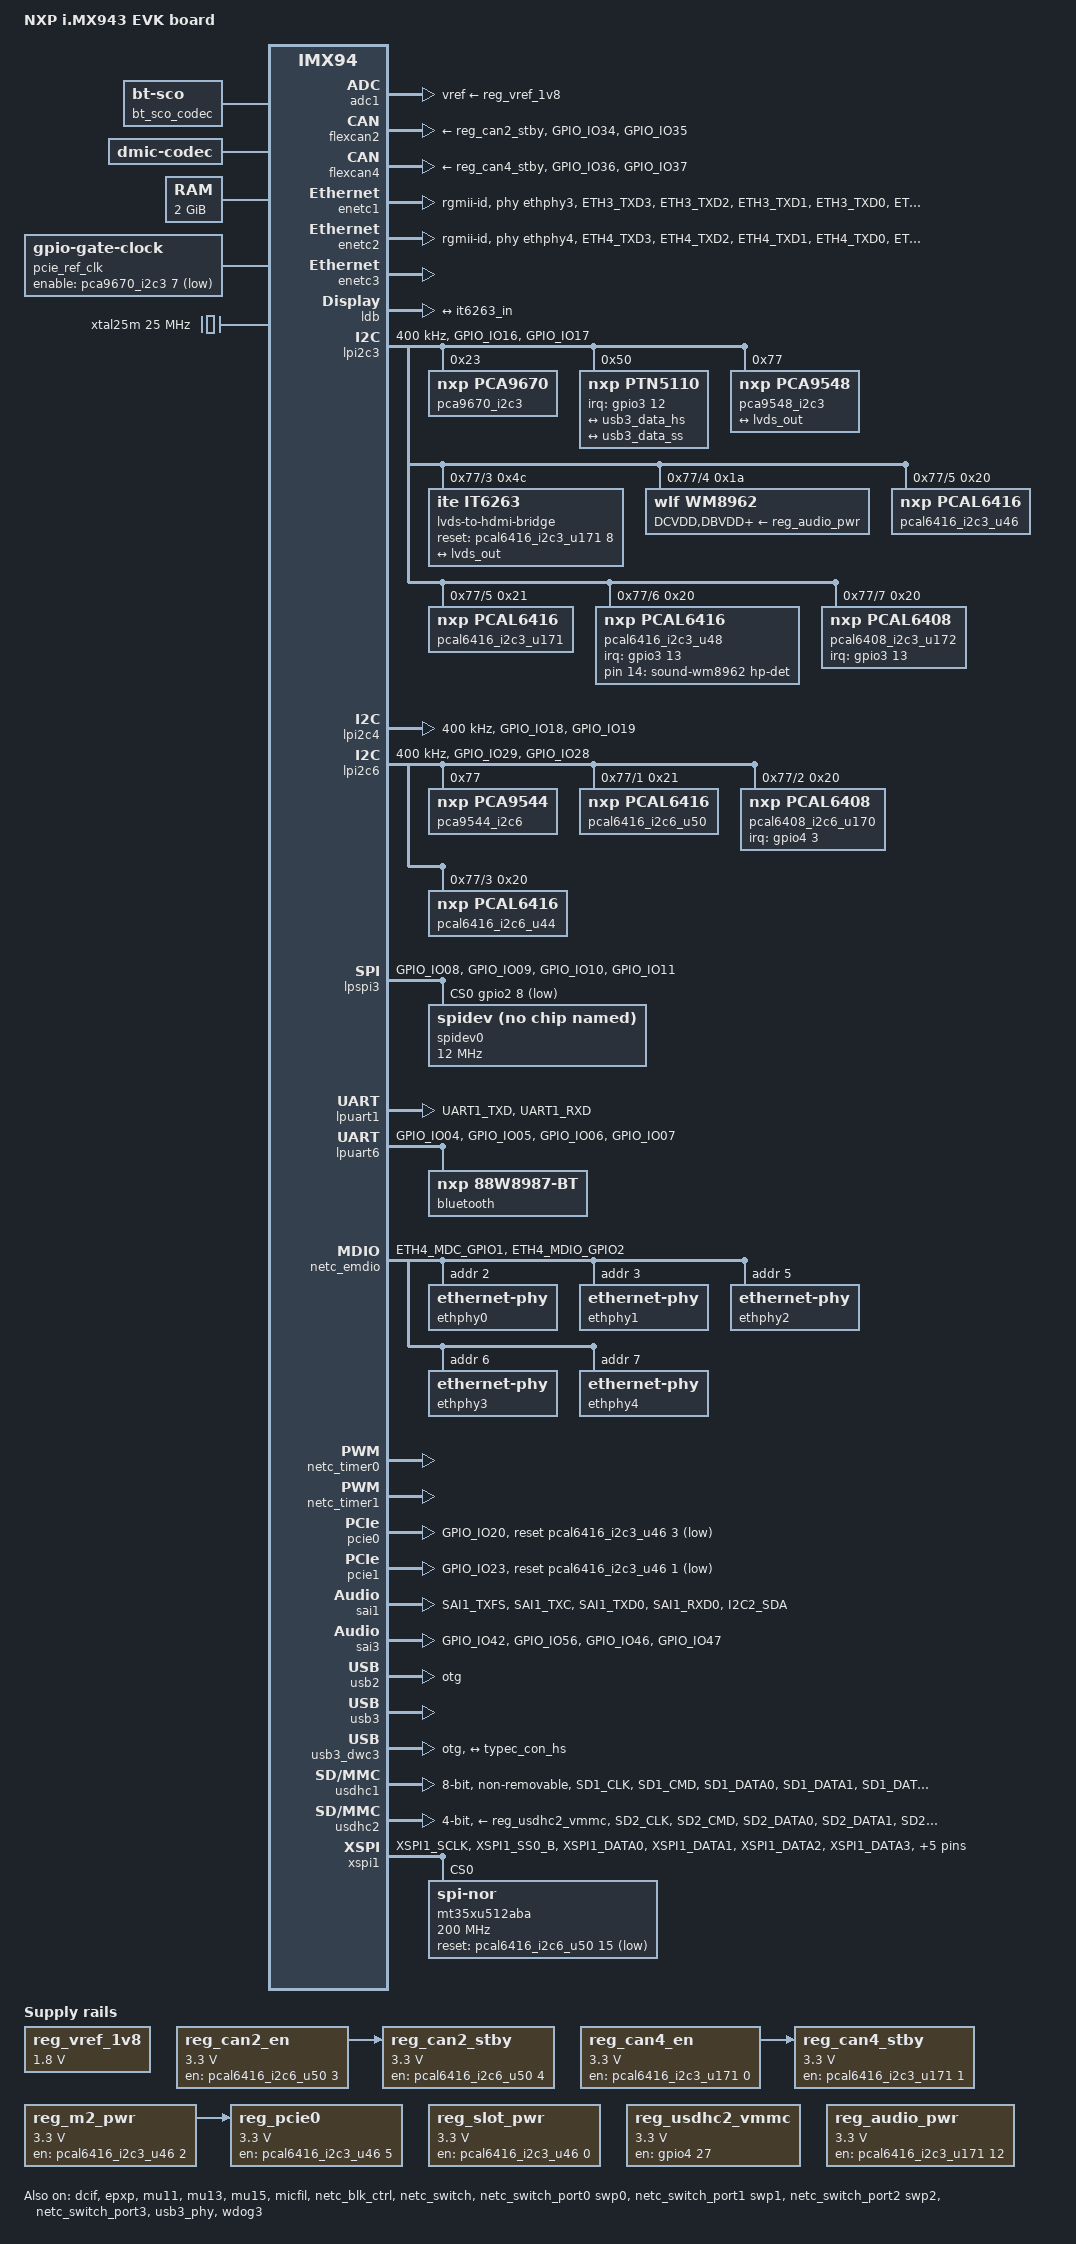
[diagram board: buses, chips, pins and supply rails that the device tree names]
// SPDX-License-Identifier: (GPL-2.0+ OR MIT)
/*
 * Copyright 2024-2025 NXP
 */

/dts-v1/;

#include "imx943.dtsi"
#include <dt-bindings/usb/pd.h>

#define BRD_SM_CTRL_BT_WAKE		0x8000  /*!< PCAL6416A-3 */
#define BRD_SM_CTRL_SD3_WAKE		0x8001  /*!< PCAL6416A-4 */
#define BRD_SM_CTRL_PCIE1_WAKE		0x8002  /*!< PCAL6416A-5 */
#define BRD_SM_CTRL_PCIE2_WAKE		0x8003  /*!< PCAL6416A-6 */
#define BRD_SM_CTRL_BUTTON		0x8004  /*!< PCAL6416A-7 */

/ {
	model = "NXP i.MX943 EVK board";
	compatible = "fsl,imx943-evk", "fsl,imx94";

	aliases {
		ethernet0 = &enetc3;
		ethernet1 = &enetc1;
		ethernet2 = &enetc2;
		mmc0 = &usdhc1;
		mmc1 = &usdhc2;
		serial0 = &lpuart1;
	};

	bt_sco_codec: bt-sco-codec {
		compatible = "linux,bt-sco";
		#sound-dai-cells = <1>;
	};

	chosen {
		stdout-path = &lpuart1;
	};

	cm70: imx943-cm70 {
		compatible = "fsl,imx94-cm7";
		mbox-names = "tx", "rx", "rxdb";
		mboxes = <&mu11 0 1
			  &mu11 1 1
			  &mu11 3 1>;
		memory-region = <&cm70_vdevbuffer>, <&cm70_vdev0vring0>, <&cm70_vdev0vring1>,
				<&cm70_vdev1vring0>, <&cm70_vdev1vring1>, <&cm70_rsc_table>;
		fsl,startup-delay-ms = <50>;
		fsl,core-index = <0x1>;
		/* cpuid and lmmid must align with SM firmware */
		fsl,cpu-id = <1>;
		fsl,lmm-id = <2>;
		status = "okay";
	};

	cm71: imx943-cm71 {
		compatible = "fsl,imx94-cm7";
		mbox-names = "tx", "rx", "rxdb";
		mboxes = <&mu13 0 1
			  &mu13 1 1
			  &mu13 3 1>;
		memory-region = <&cm71_vdevbuffer>, <&cm71_vdev0vring0>, <&cm71_vdev0vring1>,
				<&cm71_vdev1vring0>, <&cm71_vdev1vring1>, <&cm71_rsc_table>;
		fsl,startup-delay-ms = <50>;
		fsl,core-index = <0x7>;
		/* cpuid and lmmid must align with SM firmware */
		fsl,cpu-id = <7>;
		fsl,lmm-id = <3>;
		status = "okay";
	};

	cm33s: imx943-cm33s {
		compatible = "fsl,imx94-cm33s";
		mbox-names = "tx", "rx", "rxdb";
		mboxes = <&mu15 0 1
			  &mu15 1 1
			  &mu15 3 1>;
		memory-region = <&cm33s_vdevbuffer>, <&cm33s_vdev0vring0>, <&cm33s_vdev0vring1>,
				<&cm33s_vdev1vring0>, <&cm33s_vdev1vring1>, <&cm33s_rsc_table>;
		fsl,startup-delay-ms = <50>;
		/* cpuid and lmmid must align with SM firmware */
		fsl,cpu-id = <8>;
		fsl,lmm-id = <1>;
		status = "okay";
	};

	dmic: dmic {
		compatible = "dmic-codec";
		#sound-dai-cells = <0>;
	};

	memory@80000000 {
		device_type = "memory";
		reg = <0x0 0x80000000 0x0 0x80000000>;
	};

	pcie_ref_clk: clock-pcie-ref {
		compatible = "gpio-gate-clock";
		clocks = <&xtal25m>;
		#clock-cells = <0>;
		enable-gpios = <&pca9670_i2c3 7 GPIO_ACTIVE_LOW>;
	};

	reserved-memory {
		#address-cells = <2>;
		#size-cells = <2>;
		ranges;

		linux,cma {
			compatible = "shared-dma-pool";
			reusable;
			size = <0 0x10000000>;
			alloc-ranges = <0 0x80000000 0 0x7f000000>;
			linux,cma-default;
		};

		cm70_vdev0vring0: vdev0vring0@82000000 {
			reg = <0 0x82000000 0 0x8000>;
			no-map;
		};

		cm70_vdev0vring1: vdev0vring1@82008000 {
			reg = <0 0x82008000 0 0x8000>;
			no-map;
		};

		cm70_vdev1vring0: vdev1vring0@82010000 {
			reg = <0 0x82010000 0 0x8000>;
			no-map;
		};

		cm70_vdev1vring1: vdev1vring1@82018000 {
			reg = <0 0x82018000 0 0x8000>;
			no-map;
		};

		cm70_rsc_table: rsc-table@82220000 {
			reg = <0 0x82220000 0 0x1000>;
			no-map;
		};

		cm70_vdevbuffer: vdevbuffer@82020000 {
			compatible = "shared-dma-pool";
			reg = <0 0x82020000 0 0x100000>;
			no-map;
		};

		cm71_vdev0vring0: vdev0vring0@84000000 {
			reg = <0 0x84000000 0 0x8000>;
			no-map;
		};

		cm71_vdev0vring1: vdev0vring1@84008000 {
			reg = <0 0x84008000 0 0x8000>;
			no-map;
		};

		cm71_vdev1vring0: vdev1vring0@84010000 {
			reg = <0 0x84010000 0 0x8000>;
			no-map;
		};

		cm71_vdev1vring1: vdev1vring1@84018000 {
			reg = <0 0x84018000 0 0x8000>;
			no-map;
		};

		cm71_rsc_table: rsc-table@84220000 {
			reg = <0 0x84220000 0 0x1000>;
			no-map;
		};

		cm71_vdevbuffer: vdevbuffer@84020000 {
			compatible = "shared-dma-pool";
			reg = <0 0x84020000 0 0x100000>;
			no-map;
		};

		cm33s_vdev0vring0: vdev0vring0@20800000 {
			reg = <0 0x20800000 0 0x8000>;
			no-map;
		};

		cm33s_vdev0vring1: vdev0vring1@20808000 {
			reg = <0 0x20808000 0 0x8000>;
			no-map;
		};

		cm33s_vdev1vring0: vdev1vring0@20810000 {
			reg = <0 0x20810000 0 0x8000>;
			no-map;
		};

		cm33s_vdev1vring1: vdev1vring1@20818000 {
			reg = <0 0x20818000 0 0x8000>;
			no-map;
		};

		cm33s_rsc_table: rsc-table@208a0000 {
			reg = <0 0x208a0000 0 0x1000>;
			no-map;
		};

		cm33s_vdevbuffer: vdevbuffer@20820000 {
			compatible = "shared-dma-pool";
			reg = <0 0x20820000 0 0x80000>;
			no-map;
		};

		ele_reserved: ele-reserved@a4120000 {
			compatible = "shared-dma-pool";
			reg = <0 0xa4120000 0 0x100000>;
			no-map;
		};
	};

	reg_vref_1v8: regulator-adc-vref {
		compatible = "regulator-fixed";
		regulator-name = "vref_1v8";
		regulator-min-microvolt = <1800000>;
		regulator-max-microvolt = <1800000>;
	};

	reg_can2_en: regulator-can2-en {
		compatible = "regulator-fixed";
		regulator-max-microvolt = <3300000>;
		regulator-min-microvolt = <3300000>;
		regulator-name = "can2-en";
		gpio = <&pcal6416_i2c6_u50 3 GPIO_ACTIVE_HIGH>;
		enable-active-high;
	};

	reg_can2_stby: regulator-can2-stby {
		compatible = "regulator-fixed";
		regulator-max-microvolt = <3300000>;
		regulator-min-microvolt = <3300000>;
		regulator-name = "can2-stby";
		vin-supply = <&reg_can2_en>;
		gpio = <&pcal6416_i2c6_u50 4 GPIO_ACTIVE_HIGH>;
		enable-active-high;
	};

	reg_can4_en: regulator-can4-en {
		compatible = "regulator-fixed";
		regulator-max-microvolt = <3300000>;
		regulator-min-microvolt = <3300000>;
		regulator-name = "can4-en";
		gpio = <&pcal6416_i2c3_u171 0 GPIO_ACTIVE_HIGH>;
		enable-active-high;
	};

	reg_can4_stby: regulator-can4-stby {
		compatible = "regulator-fixed";
		regulator-max-microvolt = <3300000>;
		regulator-min-microvolt = <3300000>;
		regulator-name = "can4-stby";
		vin-supply = <&reg_can4_en>;
		gpio = <&pcal6416_i2c3_u171 1 GPIO_ACTIVE_HIGH>;
		enable-active-high;
	};

	reg_m2_pwr: regulator-m2-pwr {
		compatible = "regulator-fixed";
		regulator-name = "M.2-power";
		regulator-min-microvolt = <3300000>;
		regulator-max-microvolt = <3300000>;
		gpio = <&pcal6416_i2c3_u46 2 GPIO_ACTIVE_HIGH>;
		enable-active-high;
	};

	reg_pcie0: regulator-pcie {
		compatible = "regulator-fixed";
		regulator-name = "PCIE_WLAN_EN";
		regulator-min-microvolt = <3300000>;
		regulator-max-microvolt = <3300000>;
		vin-supply = <&reg_m2_pwr>;
		gpio = <&pcal6416_i2c3_u46 5 GPIO_ACTIVE_HIGH>;
		enable-active-high;
		regulator-always-on;
	};

	reg_slot_pwr: regulator-slot-pwr {
		compatible = "regulator-fixed";
		regulator-name = "PCIe slot-power";
		regulator-min-microvolt = <3300000>;
		regulator-max-microvolt = <3300000>;
		gpio = <&pcal6416_i2c3_u46 0 GPIO_ACTIVE_HIGH>;
		enable-active-high;
	};

	reg_usdhc2_vmmc: regulator-usdhc2 {
		compatible = "regulator-fixed";
		pinctrl-names = "default";
		pinctrl-0 = <&pinctrl_reg_usdhc2_vmmc>;
		regulator-name = "VDD_SD2_3V3";
		regulator-min-microvolt = <3300000>;
		regulator-max-microvolt = <3300000>;
		gpio = <&gpio4 27 GPIO_ACTIVE_HIGH>;
		off-on-delay-us = <12000>;
		enable-active-high;
	};

	reg_audio_pwr: regulator-wm8962-pwr {
		compatible = "regulator-fixed";
		regulator-name = "audio-pwr";
		regulator-min-microvolt = <3300000>;
		regulator-max-microvolt = <3300000>;
		gpio = <&pcal6416_i2c3_u171 12 GPIO_ACTIVE_HIGH>;
		enable-active-high;
	};

	sound-bt-sco {
		compatible = "simple-audio-card";
		simple-audio-card,name = "bt-sco-audio";
		simple-audio-card,format = "dsp_a";
		simple-audio-card,bitclock-inversion;
		simple-audio-card,frame-master = <&btcpu>;
		simple-audio-card,bitclock-master = <&btcpu>;

		btcpu: simple-audio-card,cpu {
			sound-dai = <&sai3>;
			dai-tdm-slot-num = <2>;
			dai-tdm-slot-width = <16>;
		};

		simple-audio-card,codec {
			sound-dai = <&bt_sco_codec 1>;
		};
	};

	sound-micfil {
		compatible = "fsl,imx-audio-card";
		model = "micfil-audio";

		pri-dai-link {
			link-name = "micfil hifi";
			format = "i2s";

			cpu {
				sound-dai = <&micfil>;
			};

			codec {
				sound-dai = <&dmic>;
			};
		};
	};

	sound-wm8962 {
		compatible = "fsl,imx-audio-wm8962";
		model = "wm8962-audio";
		audio-cpu = <&sai1>;
		audio-codec = <&wm8962>;
		hp-det-gpio = <&pcal6416_i2c3_u48 14 GPIO_ACTIVE_HIGH>;
		audio-routing =
			"Headphone Jack", "HPOUTL",
			"Headphone Jack", "HPOUTR",
			"Ext Spk", "SPKOUTL",
			"Ext Spk", "SPKOUTR",
			"AMIC", "MICBIAS",
			"IN3R", "AMIC",
			"IN1R", "AMIC";
	};

	xtal25m: clock-xtal25m {
		compatible = "fixed-clock";
		#clock-cells = <0>;
		clock-frequency = <25000000>;
		clock-output-names = "xtal_25MHz";
	};
};

&adc1 {
	vref-supply = <&reg_vref_1v8>;
	status = "okay";
};

&dcif {
	status = "okay";
};

&ele_if0 {
	memory-region = <&ele_reserved>;
};

&flexcan2 {
	pinctrl-0 = <&pinctrl_flexcan2>;
	pinctrl-names = "default";
	xceiver-supply = <&reg_can2_stby>;
	status = "okay";
};

&flexcan4 {
	pinctrl-0 = <&pinctrl_flexcan4>;
	pinctrl-names = "default";
	xceiver-supply = <&reg_can4_stby>;
	status = "okay";
};

&enetc1 {
	clocks = <&scmi_clk IMX94_CLK_MAC4>;
	clock-names = "enet_ref_clk";
	pinctrl-names = "default";
	pinctrl-0 = <&pinctrl_eth3>;
	phy-handle = <&ethphy3>;
	phy-mode = "rgmii-id";
	status = "okay";
};

&enetc2 {
	clocks = <&scmi_clk IMX94_CLK_MAC5>;
	clock-names = "enet_ref_clk";
	pinctrl-names = "default";
	pinctrl-0 = <&pinctrl_eth4>;
	phy-handle = <&ethphy4>;
	phy-mode = "rgmii-id";
	status = "okay";
};

&enetc3 {
	status = "okay";
};

&epxp {
	status = "okay";
};

&ldb {
	#address-cells = <1>;
	#size-cells = <0>;
	assigned-clocks = <&scmi_clk IMX94_CLK_LDBPLL_VCO>,
			  <&scmi_clk IMX94_CLK_LDBPLL>;
	assigned-clock-rates = <4158000000>, <1039500000>;
	status = "okay";

	ports {
		#address-cells = <1>;
		#size-cells = <0>;

		port@1 {
			reg = <1>;

			lvds_out: endpoint {
				remote-endpoint = <&it6263_in>;
			};
		};
	};
};

&lpi2c3 {
	clock-frequency = <400000>;
	pinctrl-0 = <&pinctrl_lpi2c3>;
	pinctrl-names = "default";
	status = "okay";

	pca9670_i2c3: gpio@23 {
		compatible = "nxp,pca9670";
		reg = <0x23>;
		#gpio-cells = <2>;
		gpio-controller;

		/* PCIE clock FANOUT buffer U12 VOE1/2/3/4 port on */
		pcie-p1-on-hog {
			gpio-hog;
			gpios = <1 GPIO_ACTIVE_HIGH>;
			output-low;
		};

		pcie-p2-on-hog {
			gpio-hog;
			gpios = <2 GPIO_ACTIVE_HIGH>;
			output-low;
		};

		pcie-p3-on-hog {
			gpio-hog;
			gpios = <3 GPIO_ACTIVE_HIGH>;
			output-low;
		};

		pcie-p4-on-hog {
			gpio-hog;
			gpios = <4 GPIO_ACTIVE_HIGH>;
			output-low;
		};
	};

	ptn5110: tcpc@50 {
		compatible = "nxp,ptn5110", "tcpci";
		reg = <0x50>;
		interrupt-parent = <&gpio3>;
		interrupts = <12 IRQ_TYPE_LEVEL_LOW>;
		pinctrl-names = "default";
		pinctrl-0 = <&pinctrl_typec>;

		typec_con: connector {
			compatible = "usb-c-connector";
			label = "USB-C";
			power-role = "dual";
			data-role = "dual";
			try-power-role = "sink";
			source-pdos = <PDO_FIXED(5000, 3000, PDO_FIXED_USB_COMM)>;
			sink-pdos = <PDO_FIXED(5000, 0, PDO_FIXED_USB_COMM)>;
			op-sink-microwatt = <0>;
			self-powered;

			ports {
				#address-cells = <1>;
				#size-cells = <0>;

				port@0 {
					reg = <0>;

					typec_con_hs: endpoint {
						remote-endpoint = <&usb3_data_hs>;
					};
				};

				port@1 {
					reg = <1>;

					typec_con_ss: endpoint {
						remote-endpoint = <&usb3_data_ss>;
					};
				};
			};
		};
	};

	pca9548_i2c3: i2c-mux@77 {
		compatible = "nxp,pca9548";
		reg = <0x77>;
		#address-cells = <1>;
		#size-cells = <0>;

		i2c@0 {
			reg = <0>;
			#address-cells = <1>;
			#size-cells = <0>;
		};

		i2c@1 {
			reg = <1>;
			#address-cells = <1>;
			#size-cells = <0>;
		};

		i2c@2 {
			reg = <2>;
			#address-cells = <1>;
			#size-cells = <0>;
		};

		i2c@3 {
			reg = <3>;
			#address-cells = <1>;
			#size-cells = <0>;

			lvds-to-hdmi-bridge@4c {
				compatible = "ite,it6263";
				reg = <0x4c>;
				reset-gpios = <&pcal6416_i2c3_u171 8 GPIO_ACTIVE_HIGH>;

				port {
					it6263_in: endpoint {
						remote-endpoint = <&lvds_out>;
					};
				};
			};
		};

		i2c@4 {
			reg = <4>;
			#address-cells = <1>;
			#size-cells = <0>;

			wm8962: codec@1a {
				compatible = "wlf,wm8962";
				reg = <0x1a>;
				clocks = <&scmi_clk IMX94_CLK_SAI1>;
				DCVDD-supply = <&reg_audio_pwr>;
				DBVDD-supply = <&reg_audio_pwr>;
				AVDD-supply = <&reg_audio_pwr>;
				CPVDD-supply = <&reg_audio_pwr>;
				MICVDD-supply = <&reg_audio_pwr>;
				PLLVDD-supply = <&reg_audio_pwr>;
				SPKVDD1-supply = <&reg_audio_pwr>;
				SPKVDD2-supply = <&reg_audio_pwr>;
				gpio-cfg = <
					0x0000 /* 0:Default */
					0x0000 /* 1:Default */
					0x0000 /* 2:FN_DMICCLK */
					0x0000 /* 3:Default */
					0x0000 /* 4:FN_DMICCDAT */
					0x0000 /* 5:Default */
				>;
			};

			ptn5150: tcpc@3d {
				compatible = "nxp,ptn5150";
				reg = <0x3d>;
				interrupt-parent = <&pcal6408_i2c3_u172>;
				interrupts = <6 IRQ_TYPE_EDGE_FALLING>;
				status = "disabled";
			};
		};

		i2c@5 {
			reg = <5>;
			#address-cells = <1>;
			#size-cells = <0>;

			pcal6416_i2c3_u46: gpio@20 {
				compatible = "nxp,pcal6416";
				reg = <0x20>;
				#gpio-cells = <2>;
				gpio-controller;

			};

			pcal6416_i2c3_u171: gpio@21 {
				compatible = "nxp,pcal6416";
				reg = <0x21>;
				#gpio-cells = <2>;
				gpio-controller;

				mqs-mic-sel-hog {
					gpio-hog;
					gpios = <11 GPIO_ACTIVE_HIGH>;
					output-low;
				};

				audio-pwren-hog {
					gpio-hog;
					gpios = <12 GPIO_ACTIVE_HIGH>;
					output-high;
				};
			};
		};

		i2c@6 {
			reg = <6>;
			#address-cells = <1>;
			#size-cells = <0>;

			pcal6416_i2c3_u48: gpio@20 {
				compatible = "nxp,pcal6416";
				reg = <0x20>;
				#interrupt-cells = <2>;
				interrupt-controller;
				interrupt-parent = <&gpio3>;
				interrupts = <13 IRQ_TYPE_LEVEL_LOW>;
				#gpio-cells = <2>;
				gpio-controller;
				pinctrl-0 = <&pinctrl_ioexpander_int>;
				pinctrl-names = "default";
			};
		};

		i2c@7 {
			reg = <7>;
			#address-cells = <1>;
			#size-cells = <0>;

			pcal6408_i2c3_u172: gpio@20 {
				compatible = "nxp,pcal6408";
				reg = <0x20>;
				#interrupt-cells = <2>;
				interrupt-controller;
				interrupt-parent = <&gpio3>;
				/* shared int pin with u48 */
				interrupts = <13 IRQ_TYPE_LEVEL_LOW>;
				#gpio-cells = <2>;
				gpio-controller;
			};
		};
	};
};

&lpi2c4 {
	clock-frequency = <400000>;
	pinctrl-0 = <&pinctrl_lpi2c4>;
	pinctrl-names = "default";
	status = "okay";
};

&lpi2c6 {
	clock-frequency = <400000>;
	pinctrl-0 = <&pinctrl_lpi2c6>;
	pinctrl-names = "default";
	status = "okay";

	pca9544_i2c6: i2c-mux@77 {
		compatible = "nxp,pca9544";
		reg = <0x77>;
		#address-cells = <1>;
		#size-cells = <0>;

		i2c@0 {
			reg = <0>;
			#address-cells = <1>;
			#size-cells = <0>;
		};

		i2c@1 {
			reg = <1>;
			#address-cells = <1>;
			#size-cells = <0>;

			pcal6416_i2c6_u50: gpio@21 {
				compatible = "nxp,pcal6416";
				reg = <0x21>;
				#gpio-cells = <2>;
				gpio-controller;
			};
		};

		i2c@2 {
			reg = <2>;
			#address-cells = <1>;
			#size-cells = <0>;

			pcal6408_i2c6_u170: gpio@20 {
				compatible = "nxp,pcal6408";
				reg = <0x20>;
				#interrupt-cells = <2>;
				interrupt-controller;
				interrupt-parent = <&gpio4>;
				interrupts = <3 IRQ_TYPE_LEVEL_LOW>;
				#gpio-cells = <2>;
				gpio-controller;
				pinctrl-0 = <&pinctrl_ioexpander_int2>;
				pinctrl-names = "default";
			};
		};

		i2c@3 {
			reg = <3>;
			#address-cells = <1>;
			#size-cells = <0>;

			pcal6416_i2c6_u44: gpio@20 {
				compatible = "nxp,pcal6416";
				reg = <0x20>;
				#gpio-cells = <2>;
				gpio-controller;

				sai3-sel-hog {
					gpio-hog;
					gpios = <11 GPIO_ACTIVE_HIGH>;
					output-high;
				};

				/* can1 selection */
				can-pdm-sel-hog {
					gpio-hog;
					gpios = <12 GPIO_ACTIVE_HIGH>;
					output-low;
				};
			};
		};
	};
};

&lpspi3 {
	cs-gpios = <&gpio2 8 GPIO_ACTIVE_LOW>;
	num-cs = <2>;
	pinctrl-0 = <&pinctrl_lpspi3>;
	pinctrl-names = "default";
	status = "okay";

	spidev0: spi@0 {
		compatible = "rohm,dh2228fv";
		reg = <0>;
		spi-max-frequency = <12000000>;
	};
};

&lpuart1 {
	/* console */
	pinctrl-names = "default";
	pinctrl-0 = <&pinctrl_uart1>;
	status = "okay";
};

&lpuart6 {
	/* BT */
	pinctrl-0 = <&pinctrl_uart6>;
	pinctrl-names = "default";
	status = "okay";

	bluetooth {
		compatible = "nxp,88w8987-bt";
	};
};

&mu11 {
	status = "okay";
};

&mu13 {
	status = "okay";
};

&mu15 {
	status = "okay";
};

&micfil {
	pinctrl-names = "default";
	pinctrl-0 = <&pinctrl_pdm>;
	assigned-clocks = <&scmi_clk IMX94_CLK_AUDIOPLL1_VCO>,
			  <&scmi_clk IMX94_CLK_AUDIOPLL2_VCO>,
			  <&scmi_clk IMX94_CLK_AUDIOPLL1>,
			  <&scmi_clk IMX94_CLK_AUDIOPLL2>,
			  <&scmi_clk IMX94_CLK_PDM>;
	assigned-clock-parents = <0>, <0>, <0>, <0>,
				 <&scmi_clk IMX94_CLK_AUDIOPLL1>;
	assigned-clock-rates = <3932160000>,
			       <3612672000>, <393216000>,
			       <361267200>, <49152000>;
	status = "okay";
};

&netc_blk_ctrl {
	assigned-clocks = <&scmi_clk IMX94_CLK_MAC2>,
			  <&scmi_clk IMX94_CLK_MAC4>,
			  <&scmi_clk IMX94_CLK_MAC5>;
	assigned-clock-parents = <&scmi_clk IMX94_CLK_SYSPLL1_PFD0>,
				 <&scmi_clk IMX94_CLK_SYSPLL1_PFD0>,
				 <&scmi_clk IMX94_CLK_SYSPLL1_PFD0>;
	assigned-clock-rates = <250000000>, <250000000>, <250000000>;
	status = "okay";
};

&netc_emdio {
	pinctrl-names = "default";
	pinctrl-0 = <&pinctrl_emdio>;
	status = "okay";

	ethphy0: ethernet-phy@2 {
		reg = <0x2>;
	};

	ethphy1: ethernet-phy@3 {
		reg = <0x3>;
	};

	ethphy2: ethernet-phy@5 {
		reg = <0x5>;
		realtek,clkout-disable;
	};

	ethphy3: ethernet-phy@6 {
		reg = <0x6>;
		realtek,clkout-disable;
	};

	ethphy4: ethernet-phy@7 {
		reg = <0x7>;
		realtek,clkout-disable;
	};
};

&netc_switch {
	pinctrl-names = "default";
	pinctrl-0 = <&pinctrl_switch>;
	status = "okay";
};

&netc_switch_port0 {
	label = "swp0";
	phy-handle = <&ethphy0>;
	phy-mode = "mii";
	status = "okay";
};

&netc_switch_port1 {
	label = "swp1";
	phy-handle = <&ethphy1>;
	phy-mode = "mii";
	status = "okay";
};

&netc_switch_port2 {
	label = "swp2";
	clocks = <&scmi_clk IMX94_CLK_MAC2>;
	clock-names = "ref";
	phy-handle = <&ethphy2>;
	phy-mode = "rgmii-id";
	status = "okay";
};

&netc_switch_port3{
	status = "okay";
};

&netc_timer0 {
	status = "okay";
};

&netc_timer1 {
	status = "okay";
};

&pcie0 {
	pinctrl-0 = <&pinctrl_pcie0>;
	pinctrl-names = "default";
	clocks = <&scmi_clk IMX94_CLK_HSIO>,
		 <&scmi_clk IMX94_CLK_HSIOPLL>,
		 <&scmi_clk IMX94_CLK_HSIOPLL_VCO>,
		 <&scmi_clk IMX94_CLK_HSIOPCIEAUX>,
		 <&pcie_ref_clk>;
	clock-names = "pcie", "pcie_bus", "pcie_phy", "pcie_aux", "ext-ref";
	reset-gpio = <&pcal6416_i2c3_u46 3 GPIO_ACTIVE_LOW>;
	vpcie-supply = <&reg_pcie0>;
	status = "okay";
};

&pcie1 {
	pinctrl-0 = <&pinctrl_pcie1>;
	pinctrl-names = "default";
	clocks = <&scmi_clk IMX94_CLK_HSIO>,
		 <&scmi_clk IMX94_CLK_HSIOPLL>,
		 <&scmi_clk IMX94_CLK_HSIOPLL_VCO>,
		 <&scmi_clk IMX94_CLK_HSIOPCIEAUX>,
		 <&pcie_ref_clk>;
	clock-names = "pcie", "pcie_bus", "pcie_phy", "pcie_aux", "ext-ref";
	reset-gpio = <&pcal6416_i2c3_u46 1 GPIO_ACTIVE_LOW>;
	vpcie-supply = <&reg_slot_pwr>;
	status = "okay";
};

&pcie1_ep {
	pinctrl-0 = <&pinctrl_pcie1>;
	pinctrl-names = "default";
	clocks = <&scmi_clk IMX94_CLK_HSIO>,
		 <&scmi_clk IMX94_CLK_HSIOPLL>,
		 <&scmi_clk IMX94_CLK_HSIOPLL_VCO>,
		 <&scmi_clk IMX94_CLK_HSIOPCIEAUX>;
	clock-names = "pcie", "pcie_bus", "pcie_phy", "pcie_aux";
	vpcie-supply = <&reg_slot_pwr>;
	status = "disabled";
};

&sai1 {
	pinctrl-names = "default";
	pinctrl-0 = <&pinctrl_sai1>;
	assigned-clocks = <&scmi_clk IMX94_CLK_AUDIOPLL1_VCO>,
			  <&scmi_clk IMX94_CLK_AUDIOPLL2_VCO>,
			  <&scmi_clk IMX94_CLK_AUDIOPLL1>,
			  <&scmi_clk IMX94_CLK_AUDIOPLL2>,
			  <&scmi_clk IMX94_CLK_SAI1>;
	assigned-clock-parents = <0>, <0>, <0>, <0>,
				 <&scmi_clk IMX94_CLK_AUDIOPLL1>;
	assigned-clock-rates = <3932160000>,
			       <3612672000>, <393216000>,
			       <361267200>, <12288000>;
	fsl,sai-mclk-direction-output;
	status = "okay";
};

&sai3 {
	pinctrl-names = "default";
	pinctrl-0 = <&pinctrl_sai3>;
	assigned-clocks = <&scmi_clk IMX94_CLK_AUDIOPLL1_VCO>,
			  <&scmi_clk IMX94_CLK_AUDIOPLL2_VCO>,
			  <&scmi_clk IMX94_CLK_AUDIOPLL1>,
			  <&scmi_clk IMX94_CLK_AUDIOPLL2>,
			  <&scmi_clk IMX94_CLK_SAI3>;
	assigned-clock-parents = <0>, <0>, <0>, <0>,
				 <&scmi_clk IMX94_CLK_AUDIOPLL1>;
	assigned-clock-rates = <3932160000>,
			       <3612672000>, <393216000>,
			       <361267200>, <12288000>;
	fsl,sai-mclk-direction-output;
	status = "okay";
};

&scmi_misc {
	nxp,ctrl-ids = <BRD_SM_CTRL_SD3_WAKE		1
			BRD_SM_CTRL_PCIE1_WAKE		1
			BRD_SM_CTRL_BT_WAKE		1
			BRD_SM_CTRL_PCIE2_WAKE		1
			BRD_SM_CTRL_BUTTON		1>;
};


&usb2 {
	dr_mode = "otg";
	disable-over-current;
	adp-disable;
	hnp-disable;
	srp-disable;
	status = "okay";
};

&usb3 {
	status = "okay";
};

&usb3_dwc3 {
	dr_mode = "otg";
	adp-disable;
	hnp-disable;
	srp-disable;
	usb-role-switch;
	snps,dis-u1-entry-quirk;
	snps,dis-u2-entry-quirk;
	status = "okay";

	port {
		usb3_data_hs: endpoint {
			remote-endpoint = <&typec_con_hs>;
		};
	};
};

&usb3_phy {
	orientation-switch;
	status = "okay";

	port {
		usb3_data_ss: endpoint {
			remote-endpoint = <&typec_con_ss>;
		};
	};
};

&thermal_zones {
	pf09 {
		polling-delay-passive = <250>;
		polling-delay = <2000>;
		thermal-sensors = <&scmi_sensor 2>;
		status = "disabled";
		trips {
			pf09_alert: trip0 {
				temperature = <140000>;
				hysteresis = <2000>;
				type = "passive";
			};

			pf09_crit: trip1 {
				temperature = <155000>;
				hysteresis = <2000>;
				type = "critical";
			};
		};
	};

	pf53_soc {
		polling-delay-passive = <250>;
		polling-delay = <2000>;
		thermal-sensors = <&scmi_sensor 3>;
		status = "disabled";
		trips {
			pf5302_alert: trip0 {
				temperature = <140000>;
				hysteresis = <2000>;
				type = "passive";
			};

			pf5302_crit: trip1 {
				temperature = <155000>;
				hysteresis = <2000>;
				type = "critical";
			};
		};
	};
};

&usdhc1 {
	pinctrl-names = "default", "state_100mhz", "state_200mhz", "sleep";
	pinctrl-0 = <&pinctrl_usdhc1>;
	pinctrl-1 = <&pinctrl_usdhc1_100mhz>;
	pinctrl-2 = <&pinctrl_usdhc1_200mhz>;
	pinctrl-3 = <&pinctrl_usdhc1>;
	bus-width = <8>;
	non-removable;
	no-sdio;
	no-sd;
	status = "okay";
};

&usdhc2 {
	pinctrl-names = "default", "state_100mhz", "state_200mhz", "sleep";
	pinctrl-0 = <&pinctrl_usdhc2>, <&pinctrl_usdhc2_gpio>;
	pinctrl-1 = <&pinctrl_usdhc2_100mhz>, <&pinctrl_usdhc2_gpio>;
	pinctrl-2 = <&pinctrl_usdhc2_200mhz>, <&pinctrl_usdhc2_gpio>;
	pinctrl-3 = <&pinctrl_usdhc2>, <&pinctrl_usdhc2_gpio>;
	cd-gpios = <&gpio4 20 GPIO_ACTIVE_LOW>;
	fsl,cd-gpio-wakeup-disable;
	vmmc-supply = <&reg_usdhc2_vmmc>;
	bus-width = <4>;
	status = "okay";
};

&wdog3 {
	fsl,ext-reset-output;
	status = "okay";
};

&xspi1 {
	pinctrl-0 = <&pinctrl_xspi1>;
	pinctrl-1 = <&pinctrl_xspi1>;
	pinctrl-names = "default", "sleep";
	status = "okay";

	mt35xu512aba: flash@0 {
		compatible = "jedec,spi-nor";
		reg = <0>;
		reset-gpios = <&pcal6416_i2c6_u50 15 (GPIO_ACTIVE_LOW | GPIO_OPEN_DRAIN)>;
		#address-cells = <1>;
		#size-cells = <1>;
		spi-max-frequency = <200000000>;
		spi-rx-bus-width = <8>;
		spi-tx-bus-width = <8>;
	};
};

&scmi_iomuxc {
	pinctrl_emdio: emdiogrp{
		fsl,pins = <
			IMX94_PAD_ETH4_MDC_GPIO1__NETC_EMDC		0x57e
			IMX94_PAD_ETH4_MDIO_GPIO2__NETC_EMDIO		0x97e
		>;
	};

	pinctrl_eth3: eth3grp {
		fsl,pins = <
			IMX94_PAD_ETH3_TXD3__NETC_PINMUX_ETH3_TXD3		0x57e
			IMX94_PAD_ETH3_TXD2__NETC_PINMUX_ETH3_TXD2		0x57e
			IMX94_PAD_ETH3_TXD1__NETC_PINMUX_ETH3_TXD1		0x57e
			IMX94_PAD_ETH3_TXD0__NETC_PINMUX_ETH3_TXD0		0x57e
			IMX94_PAD_ETH3_TX_CTL__NETC_PINMUX_ETH3_TX_CTL		0x57e
			IMX94_PAD_ETH3_TX_CLK__NETC_PINMUX_ETH3_TX_CLK		0x5fe
			IMX94_PAD_ETH3_RX_CTL__NETC_PINMUX_ETH3_RX_CTL		0x57e
			IMX94_PAD_ETH3_RX_CLK__NETC_PINMUX_ETH3_RX_CLK		0x5fe
			IMX94_PAD_ETH3_RXD0__NETC_PINMUX_ETH3_RXD0		0x57e
			IMX94_PAD_ETH3_RXD1__NETC_PINMUX_ETH3_RXD1		0x57e
			IMX94_PAD_ETH3_RXD2__NETC_PINMUX_ETH3_RXD2		0x57e
			IMX94_PAD_ETH3_RXD3__NETC_PINMUX_ETH3_RXD3		0x57e
		>;
	};

	pinctrl_eth4: eth4grp {
		fsl,pins = <
			IMX94_PAD_ETH4_TXD3__NETC_PINMUX_ETH4_TXD3		0x57e
			IMX94_PAD_ETH4_TXD2__NETC_PINMUX_ETH4_TXD2		0x57e
			IMX94_PAD_ETH4_TXD1__NETC_PINMUX_ETH4_TXD1		0x57e
			IMX94_PAD_ETH4_TXD0__NETC_PINMUX_ETH4_TXD0		0x57e
			IMX94_PAD_ETH4_TX_CTL__NETC_PINMUX_ETH4_TX_CTL		0x57e
			IMX94_PAD_ETH4_TX_CLK__NETC_PINMUX_ETH4_TX_CLK		0x5fe
			IMX94_PAD_ETH4_RX_CTL__NETC_PINMUX_ETH4_RX_CTL		0x57e
			IMX94_PAD_ETH4_RX_CLK__NETC_PINMUX_ETH4_RX_CLK		0x5fe
			IMX94_PAD_ETH4_RXD0__NETC_PINMUX_ETH4_RXD0		0x57e
			IMX94_PAD_ETH4_RXD1__NETC_PINMUX_ETH4_RXD1		0x57e
			IMX94_PAD_ETH4_RXD2__NETC_PINMUX_ETH4_RXD2		0x57e
			IMX94_PAD_ETH4_RXD3__NETC_PINMUX_ETH4_RXD3		0x57e
		>;
	};

	pinctrl_flexcan2: flexcan2grp {
		fsl,pins = <
			IMX94_PAD_GPIO_IO34__CAN2_TX		0x39e
			IMX94_PAD_GPIO_IO35__CAN2_RX		0x39e
		>;
	};

	pinctrl_flexcan4: flexcan4grp {
		fsl,pins = <
			IMX94_PAD_GPIO_IO36__CAN4_TX		0x39e
			IMX94_PAD_GPIO_IO37__CAN4_RX		0x39e
		>;
	};

	pinctrl_ioexpander_int2: ioexpanderint2grp {
		fsl,pins = <
			IMX94_PAD_CCM_CLKO4__GPIO4_IO3		0x31e
		>;
	};

	pinctrl_ioexpander_int: ioexpanderintgrp {
		fsl,pins = <
			IMX94_PAD_GPIO_IO45__GPIO3_IO13		0x31e
		>;
	};

	pinctrl_uart1: uart1grp {
		fsl,pins = <
			IMX94_PAD_UART1_TXD__LPUART1_TX		0x31e
			IMX94_PAD_UART1_RXD__LPUART1_RX		0x31e
		>;
	};

	pinctrl_uart6: uart6grp {
		fsl,pins = <
			IMX94_PAD_GPIO_IO04__LPUART6_TX		0x31e
			IMX94_PAD_GPIO_IO05__LPUART6_RX		0x31e
			IMX94_PAD_GPIO_IO06__LPUART6_CTS_B	0x31e
			IMX94_PAD_GPIO_IO07__LPUART6_RTS_B	0x31e
		>;
	};

	pinctrl_lpi2c3: lpi2c3grp {
		fsl,pins = <
			IMX94_PAD_GPIO_IO16__LPI2C3_SDA		0x40000b9e
			IMX94_PAD_GPIO_IO17__LPI2C3_SCL		0x40000b9e
		>;
	};

	pinctrl_lpi2c4: lpi2c4grp {
		fsl,pins = <
			IMX94_PAD_GPIO_IO18__LPI2C4_SDA		0x40000b9e
			IMX94_PAD_GPIO_IO19__LPI2C4_SCL		0x40000b9e
		>;
	};

	pinctrl_lpi2c6: lpi2c6grp {
		fsl,pins = <
			IMX94_PAD_GPIO_IO29__LPI2C6_SDA		0x40000b9e
			IMX94_PAD_GPIO_IO28__LPI2C6_SCL		0x40000b9e
		>;
	};

	pinctrl_lpspi3: lpspi3grp {
		fsl,pins = <
			IMX94_PAD_GPIO_IO08__GPIO2_IO8			0x3fe
			IMX94_PAD_GPIO_IO09__LPSPI3_SIN			0x3fe
			IMX94_PAD_GPIO_IO10__LPSPI3_SOUT		0x3fe
			IMX94_PAD_GPIO_IO11__LPSPI3_SCK			0x3fe
		>;
	};

	pinctrl_mqs1: mqs1grp {
		fsl,pins = <
			IMX94_PAD_PDM_CLK__MQS1_LEFT           0x31e
			IMX94_PAD_PDM_BIT_STREAM0__MQS1_RIGHT  0x31e
		>;
	};

	pinctrl_pcie0: pcie0grp {
		fsl,pins = <
			IMX94_PAD_GPIO_IO20__PCIE1_CLKREQ_B	0x4000031e
		>;
	};

	pinctrl_pcie1: pcie1grp {
		fsl,pins = <
			IMX94_PAD_GPIO_IO23__PCIE2_CLKREQ_B	0x4000031e
		>;
	};

	pinctrl_pdm: pdmgrp {
		fsl,pins = <
			IMX94_PAD_PDM_CLK__PDM_CLK			0x31e
			IMX94_PAD_PDM_BIT_STREAM0__PDM_BIT_STREAM0	0x31e
			IMX94_PAD_PDM_BIT_STREAM1__PDM_BIT_STREAM1	0x31e
		>;
	};

	pinctrl_sai1: sai1grp {
		fsl,pins = <
			IMX94_PAD_SAI1_TXFS__SAI1_TX_SYNC	0x31e
			IMX94_PAD_SAI1_TXC__SAI1_TX_BCLK	0x31e
			IMX94_PAD_SAI1_TXD0__SAI1_TX_DATA0	0x31e
			IMX94_PAD_SAI1_RXD0__SAI1_RX_DATA0	0x31e
			IMX94_PAD_I2C2_SDA__SAI1_MCLK		0x31e
		>;
	};

	pinctrl_sai3: sai3grp {
		fsl,pins = <
			IMX94_PAD_GPIO_IO42__SAI3_TX_BCLK	0x31e
			IMX94_PAD_GPIO_IO56__SAI3_TX_SYNC	0x31e
			IMX94_PAD_GPIO_IO46__SAI3_RX_DATA0	0x31e
			IMX94_PAD_GPIO_IO47__SAI3_TX_DATA0	0x31e
		>;
	};

	pinctrl_switch: switchgrp {
		fsl,pins = <
			IMX94_PAD_ETH0_RX_CLK__NETC_PINMUX_ETH0_RX_CLK		0x5fe
			IMX94_PAD_ETH0_RX_DV__NETC_PINMUX_ETH0_RX_DV		0x57e
			IMX94_PAD_ETH0_RX_ER__NETC_PINMUX_ETH0_RX_ER		0x57e
			IMX94_PAD_ETH0_RXD0__NETC_PINMUX_ETH0_RXD0		0x57e
			IMX94_PAD_ETH0_RXD1__NETC_PINMUX_ETH0_RXD1		0x57e
			IMX94_PAD_ETH0_RXD2__NETC_PINMUX_ETH0_RXD2		0x57e
			IMX94_PAD_ETH0_RXD3__NETC_PINMUX_ETH0_RXD3		0x57e
			IMX94_PAD_ETH0_TX_CLK__NETC_PINMUX_ETH0_TX_CLK		0x5fe
			IMX94_PAD_ETH0_TX_EN__NETC_PINMUX_ETH0_TX_EN		0x57e
			IMX94_PAD_ETH0_TX_ER__NETC_PINMUX_ETH0_TX_ER		0x57e
			IMX94_PAD_ETH0_TXD0__NETC_PINMUX_ETH0_TXD0		0x57e
			IMX94_PAD_ETH0_TXD1__NETC_PINMUX_ETH0_TXD1		0x57e
			IMX94_PAD_ETH0_TXD2__NETC_PINMUX_ETH0_TXD2		0x57e
			IMX94_PAD_ETH0_TXD3__NETC_PINMUX_ETH0_TXD3		0x57e
			IMX94_PAD_ETH0_CRS__NETC_PINMUX_ETH0_CRS		0x57e
			IMX94_PAD_ETH0_COL__NETC_PINMUX_ETH0_COL		0x57e
			IMX94_PAD_ETH1_RX_CLK__NETC_PINMUX_ETH1_RX_CLK		0x5fe
			IMX94_PAD_ETH1_RX_DV__NETC_PINMUX_ETH1_RX_DV		0x57e
			IMX94_PAD_ETH1_RX_ER__NETC_PINMUX_ETH1_RX_ER		0x57e
			IMX94_PAD_ETH1_RXD0__NETC_PINMUX_ETH1_RXD0		0x57e
			IMX94_PAD_ETH1_RXD1__NETC_PINMUX_ETH1_RXD1		0x57e
			IMX94_PAD_ETH1_RXD2__NETC_PINMUX_ETH1_RXD2		0x57e
			IMX94_PAD_ETH1_RXD3__NETC_PINMUX_ETH1_RXD3		0x57e
			IMX94_PAD_ETH1_TX_CLK__NETC_PINMUX_ETH1_TX_CLK		0x5fe
			IMX94_PAD_ETH1_TX_EN__NETC_PINMUX_ETH1_TX_EN		0x57e
			IMX94_PAD_ETH1_TX_ER__NETC_PINMUX_ETH1_TX_ER		0x57e
			IMX94_PAD_ETH1_TXD0__NETC_PINMUX_ETH1_TXD0		0x57e
			IMX94_PAD_ETH1_TXD1__NETC_PINMUX_ETH1_TXD1		0x57e
			IMX94_PAD_ETH1_TXD2__NETC_PINMUX_ETH1_TXD2		0x57e
			IMX94_PAD_ETH1_TXD3__NETC_PINMUX_ETH1_TXD3		0x57e
			IMX94_PAD_ETH1_CRS__NETC_PINMUX_ETH1_CRS		0x57e
			IMX94_PAD_ETH1_COL__NETC_PINMUX_ETH1_COL		0x57e
			IMX94_PAD_ETH2_TXD3__NETC_PINMUX_ETH2_TXD3		0x57e
			IMX94_PAD_ETH2_TXD2__NETC_PINMUX_ETH2_TXD2		0x57e
			IMX94_PAD_ETH2_TXD1__NETC_PINMUX_ETH2_TXD1		0x57e
			IMX94_PAD_ETH2_TXD0__NETC_PINMUX_ETH2_TXD0		0x57e
			IMX94_PAD_ETH2_TX_CTL__NETC_PINMUX_ETH2_TX_CTL		0x57e
			IMX94_PAD_ETH2_TX_CLK__NETC_PINMUX_ETH2_TX_CLK		0x5fe
			IMX94_PAD_ETH2_RX_CTL__NETC_PINMUX_ETH2_RX_CTL		0x57e
			IMX94_PAD_ETH2_RX_CLK__NETC_PINMUX_ETH2_RX_CLK		0x5fe
			IMX94_PAD_ETH2_RXD0__NETC_PINMUX_ETH2_RXD0		0x57e
			IMX94_PAD_ETH2_RXD1__NETC_PINMUX_ETH2_RXD1		0x57e
			IMX94_PAD_ETH2_RXD2__NETC_PINMUX_ETH2_RXD2		0x57e
			IMX94_PAD_ETH2_RXD3__NETC_PINMUX_ETH2_RXD3		0x57e
		>;
	};

	pinctrl_typec: typecgrp {
		fsl,pins = <
			IMX94_PAD_GPIO_IO44__GPIO3_IO12		0x31e
		>;
	};

	pinctrl_usdhc1: usdhc1grp {
		fsl,pins = <
			IMX94_PAD_SD1_CLK__USDHC1_CLK		0x158e
			IMX94_PAD_SD1_CMD__USDHC1_CMD		0x138e
			IMX94_PAD_SD1_DATA0__USDHC1_DATA0	0x138e
			IMX94_PAD_SD1_DATA1__USDHC1_DATA1	0x138e
			IMX94_PAD_SD1_DATA2__USDHC1_DATA2	0x138e
			IMX94_PAD_SD1_DATA3__USDHC1_DATA3	0x138e
			IMX94_PAD_SD1_DATA4__USDHC1_DATA4	0x138e
			IMX94_PAD_SD1_DATA5__USDHC1_DATA5	0x138e
			IMX94_PAD_SD1_DATA6__USDHC1_DATA6	0x138e
			IMX94_PAD_SD1_DATA7__USDHC1_DATA7	0x138e
			IMX94_PAD_SD1_STROBE__USDHC1_STROBE	0x158e
		>;
	};

	pinctrl_usdhc1_100mhz: usdhc1-100mhzgrp {
		fsl,pins = <
			IMX94_PAD_SD1_CLK__USDHC1_CLK		0x158e
			IMX94_PAD_SD1_CMD__USDHC1_CMD		0x138e
			IMX94_PAD_SD1_DATA0__USDHC1_DATA0	0x138e
			IMX94_PAD_SD1_DATA1__USDHC1_DATA1	0x138e
			IMX94_PAD_SD1_DATA2__USDHC1_DATA2	0x138e
			IMX94_PAD_SD1_DATA3__USDHC1_DATA3	0x138e
			IMX94_PAD_SD1_DATA4__USDHC1_DATA4	0x138e
			IMX94_PAD_SD1_DATA5__USDHC1_DATA5	0x138e
			IMX94_PAD_SD1_DATA6__USDHC1_DATA6	0x138e
			IMX94_PAD_SD1_DATA7__USDHC1_DATA7	0x138e
			IMX94_PAD_SD1_STROBE__USDHC1_STROBE	0x158e
		>;
	};

	pinctrl_usdhc1_200mhz: usdhc1-200mhzgrp {
		fsl,pins = <
			IMX94_PAD_SD1_CLK__USDHC1_CLK		0x15fe
			IMX94_PAD_SD1_CMD__USDHC1_CMD		0x13fe
			IMX94_PAD_SD1_DATA0__USDHC1_DATA0	0x13fe
			IMX94_PAD_SD1_DATA1__USDHC1_DATA1	0x13fe
			IMX94_PAD_SD1_DATA2__USDHC1_DATA2	0x13fe
			IMX94_PAD_SD1_DATA3__USDHC1_DATA3	0x13fe
			IMX94_PAD_SD1_DATA4__USDHC1_DATA4	0x13fe
			IMX94_PAD_SD1_DATA5__USDHC1_DATA5	0x13fe
			IMX94_PAD_SD1_DATA6__USDHC1_DATA6	0x13fe
			IMX94_PAD_SD1_DATA7__USDHC1_DATA7	0x13fe
			IMX94_PAD_SD1_STROBE__USDHC1_STROBE	0x15fe
		>;
	};

	pinctrl_usdhc2: usdhc2grp {
		fsl,pins = <
			IMX94_PAD_SD2_CLK__USDHC2_CLK		0x158e
			IMX94_PAD_SD2_CMD__USDHC2_CMD		0x138e
			IMX94_PAD_SD2_DATA0__USDHC2_DATA0	0x138e
			IMX94_PAD_SD2_DATA1__USDHC2_DATA1	0x138e
			IMX94_PAD_SD2_DATA2__USDHC2_DATA2	0x138e
			IMX94_PAD_SD2_DATA3__USDHC2_DATA3	0x138e
			IMX94_PAD_SD2_VSELECT__USDHC2_VSELECT	0x51e
		>;
	};

	pinctrl_usdhc2_100mhz: usdhc2-100mhzgrp {
		fsl,pins = <
			IMX94_PAD_SD2_CLK__USDHC2_CLK		0x158e
			IMX94_PAD_SD2_CMD__USDHC2_CMD		0x138e
			IMX94_PAD_SD2_DATA0__USDHC2_DATA0	0x138e
			IMX94_PAD_SD2_DATA1__USDHC2_DATA1	0x138e
			IMX94_PAD_SD2_DATA2__USDHC2_DATA2	0x138e
			IMX94_PAD_SD2_DATA3__USDHC2_DATA3	0x138e
			IMX94_PAD_SD2_VSELECT__USDHC2_VSELECT	0x51e
		>;
	};

	pinctrl_usdhc2_200mhz: usdhc2-200mhzgrp {
		fsl,pins = <
			IMX94_PAD_SD2_CLK__USDHC2_CLK		0x15fe
			IMX94_PAD_SD2_CMD__USDHC2_CMD		0x13fe
			IMX94_PAD_SD2_DATA0__USDHC2_DATA0	0x13fe
			IMX94_PAD_SD2_DATA1__USDHC2_DATA1	0x13fe
			IMX94_PAD_SD2_DATA2__USDHC2_DATA2	0x13fe
			IMX94_PAD_SD2_DATA3__USDHC2_DATA3	0x13fe
			IMX94_PAD_SD2_VSELECT__USDHC2_VSELECT	0x51e
		>;
	};

	pinctrl_usdhc2_gpio: usdhc2gpiogrp {
		fsl,pins = <
			IMX94_PAD_SD2_CD_B__GPIO4_IO20		0x31e
		>;
	};

	pinctrl_reg_usdhc2_vmmc: regusdhc2vmmcgrp {
		fsl,pins = <
			IMX94_PAD_SD2_RESET_B__GPIO4_IO27	0x31e
		>;
	};

	pinctrl_xspi1: xspi1grp {
		fsl,pins = <
			IMX94_PAD_XSPI1_SCLK__XSPI1_A_SCLK	0x3fe
			IMX94_PAD_XSPI1_SS0_B__XSPI1_A_SS0_B	0x3fe
			IMX94_PAD_XSPI1_DATA0__XSPI1_A_DATA0	0x3fe
			IMX94_PAD_XSPI1_DATA1__XSPI1_A_DATA1	0x3fe
			IMX94_PAD_XSPI1_DATA2__XSPI1_A_DATA2	0x3fe
			IMX94_PAD_XSPI1_DATA3__XSPI1_A_DATA3	0x3fe
			IMX94_PAD_XSPI1_DATA4__XSPI1_A_DATA4	0x3fe
			IMX94_PAD_XSPI1_DATA5__XSPI1_A_DATA5	0x3fe
			IMX94_PAD_XSPI1_DATA6__XSPI1_A_DATA6	0x3fe
			IMX94_PAD_XSPI1_DATA7__XSPI1_A_DATA7	0x3fe
			IMX94_PAD_XSPI1_DQS__XSPI1_A_DQS	0x3fe
		>;
	};
};
